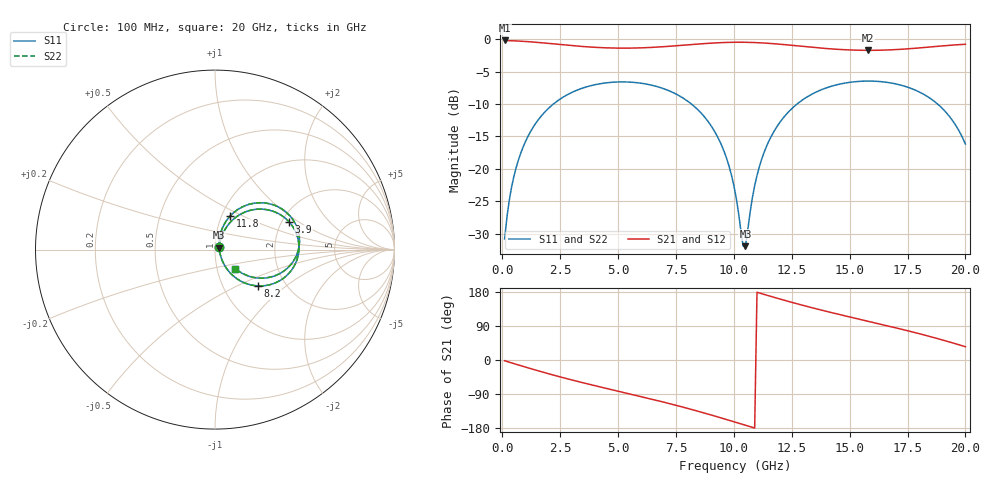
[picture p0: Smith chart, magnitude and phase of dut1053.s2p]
! Touchstone file exported from HFSS 2026.1.0
!  File:  C:/ffzhzh/LocalFiles/Ansys_Project_Files/temp_train_TSV_RDL_1053_1783297120_38820.aedt
!  Generated:  08:29:25 AM Jul  6, 2026
!  Design:  TSV_RDL
!  Project:  temp_train_TSV_RDL_1053_1783297120_38820
! Variables:
!  h_bsmrdl = 4.9um
!  h_ox = 20um
!  h_rdl = 5um
!  h_sub = 63.8um
!  h_tmrdl = 4.46um
!  h_tsv = 63.8um
!  h_via = 3um
!  l_bsmrdl = 338.18um
!  l_sub = 5476.13um
!  l_tmrdl = 988.78um
!  m_sub = 200um
!  pitch = 41.83um
!  r_tsv = 14.57um
!  s_tmrdl = 10um
!  w_bsmrdl = 18.06um
!  w_sub = 500um
!  w_tmrdl = 17.43um
!  x_tsv_center1 = 997.495um
!  x_tsv_center2 = 1353.735um
!  x_tsv_center3 = 2359.945um
!  x_tsv_center4 = 2716.185um
!  x_tsv_center5 = 3722.395um
!  x_tsv_center6 = 4078.635um
# GHz S MA R 50.000000
! Terminal data exported
! Port[1] = TM_RDL1_1_T1
! Port[2] = TM_RDL5_1_T1
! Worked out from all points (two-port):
!   200 points, 100 MHz to 20 GHz, reference 50 ohm
!   highest |S21| = -0.20 dB at 100 MHz (marker M1); lowest = -1.7 dB at 15.8 GHz (marker M2)
!   |S21| within 3 dB of the highest: start of sweep to end of sweep
!   lowest |S11| = -31.9 dB at 10.5 GHz (marker M3), VSWR 1.05, Z = 52.4 + j1.05 ohm
!   |S11| at or under -10 dB: start of sweep to 2.206 GHz; 8.168 GHz to 12.73 GHz (4.562 GHz wide, 43.7 % of centre); 18.8 GHz to end of sweep
!   |S22| runs from -32.0 to -6.5 dB; largest |S21 - S12| = 1.7e-14
!   S11 on the Smith chart (normalised r, x): 100 MHz: 1.05, +0.04; 3.9 GHz: 2.19, +0.84; 8.2 GHz: 1.45, -0.65; 11.8 GHz: 1.10, +0.42; 20 GHz: 1.22, -0.27
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0.1  0.02887 36.3  0.9772 -2.0  0.9772 -2.0  0.02887 36.3
! Gamma 0 0 0 0
! Port Impedance 50 0 50 0
0.3  0.05708 58.7  0.9741 -5.8  0.9741 -5.8  0.05708 58.7
0.5  0.08735 63.3  0.9707 -9.5  0.9707 -9.5  0.08735 63.3
1.1  0.1768 60.6  0.9571 -20.5  0.9571 -20.5  0.1768 60.6
2.1  0.3047 46.7  0.9238 -38.0  0.9238 -38.0  0.3047 46.7
3.5  0.4215 26.0  0.8769 -60.3  0.8769 -60.3  0.4214 26.0
3.9  0.4414 20.3  0.8672 -66.3  0.8672 -66.3  0.4413 20.3
5.3  0.4681 1.0  0.8525 -86.6  0.8525 -86.6  0.4681 1.0
6.8  0.4249 -19.9  0.871 -108.6  0.871 -108.6  0.4249 -19.9
8.2  0.3129 -40.3  0.9096 -130.9  0.9096 -130.9  0.3129 -40.3
9.4  0.1622 -56.4  0.9394 -151.9  0.9394 -151.9  0.1621 -56.5
9.8  0.1039 -58.6  0.9448 -159.2  0.9448 -159.2  0.1039 -58.7
10.1  0.05999 -53.6  0.9467 -164.7  0.9467 -164.7  0.05987 -53.8
10.4  0.02545 -11.0  0.9465 -170.3  0.9465 -170.3  0.02519 -11.1
10.5  0.02538 23.2  0.946 -172.1  0.946 -172.1  0.02513 23.5
11  0.08894 70.8  0.94 178.7  0.94 178.7  0.08887 71.0
11.8  0.2037 65.8  0.9203 164.2  0.9203 164.2  0.2036 65.9
13.4  0.379 43.3  0.8649 137.6  0.8649 137.6  0.379 43.4
15.8  0.4753 10.6  0.82 102.2  0.82 102.2  0.4752 10.7
16.7  0.4622 -1.3  0.8261 89.3  0.8261 89.3  0.4621 -1.2
18.7  0.3271 -28.8  0.8775 58.1  0.8775 58.1  0.3269 -28.7
20  0.1556 -43.2  0.9131 35.1  0.9131 35.1  0.1555 -42.9
